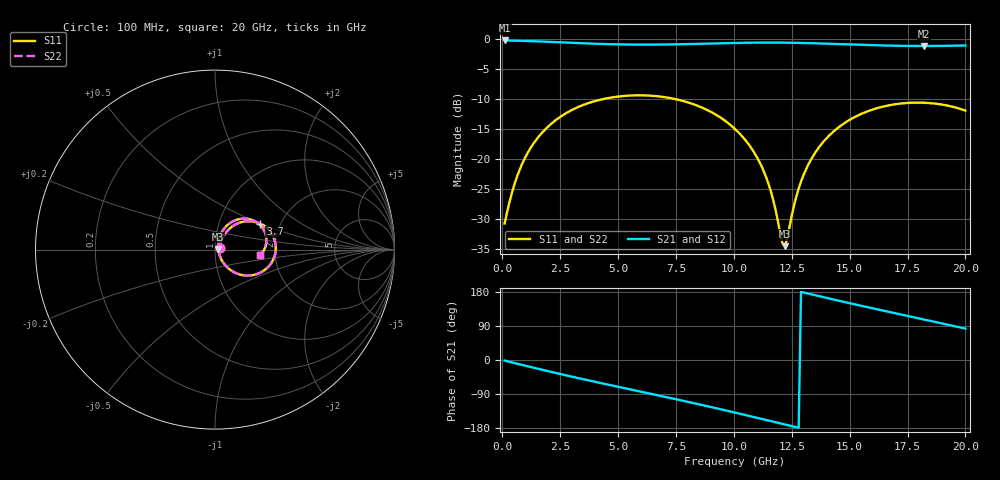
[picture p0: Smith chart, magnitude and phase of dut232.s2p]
! Touchstone file exported from HFSS 2026.1.0
!  File:  C:/ffzhzh/LocalFiles/Ansys_Project_Files/temp_train_TSV_RDL_232_1783064731_36532.aedt
!  Generated:  04:01:15 PM Jul  3, 2026
!  Design:  TSV_RDL
!  Project:  temp_train_TSV_RDL_232_1783064731_36532
! Variables:
!  h_bsmrdl = 5.73um
!  h_ox = 20um
!  h_rdl = 5um
!  h_sub = 92.33um
!  h_tmrdl = 4.64um
!  h_tsv = 92.33um
!  h_via = 3um
!  l_bsmrdl = 972.35um
!  l_sub = 4499.13um
!  l_tmrdl = 270.35um
!  m_sub = 200um
!  pitch = 31.32um
!  r_tsv = 2.55um
!  s_tmrdl = 10um
!  w_bsmrdl = 22.12um
!  w_sub = 500um
!  w_tmrdl = 11.44um
!  x_tsv_center1 = 276.07um
!  x_tsv_center2 = 1270.54um
!  x_tsv_center3 = 1552.33um
!  x_tsv_center4 = 2546.8um
!  x_tsv_center5 = 2828.59um
!  x_tsv_center6 = 3823.06um
# GHz S MA R 50.000000
! Terminal data exported
! Port[1] = TM_RDL1_1_T1
! Port[2] = TM_RDL5_1_T1
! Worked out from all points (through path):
!   200 points, 100 MHz to 20 GHz, reference 50 ohm
!   highest |S21| = -0.23 dB at 100 MHz (marker M1); lowest = -1.2 dB at 18.2 GHz (marker M2)
!   group delay of S21, straight-line fit = 38.4 ps
!   lowest |S11| = -34.6 dB at 12.2 GHz (marker M3), VSWR 1.04, Z = 51.9 + j0.405 ohm
!   |S11| at or under -10 dB: start of sweep to 4.385 GHz; 7.436 GHz to end of sweep
!   |S22| runs from -34.5 to -9.4 dB; largest |S21 - S12| = 1.7e-14
!   S11 on the Smith chart (normalised r, x): 100 MHz: 1.05, +0.02; 3.7 GHz: 1.58, +0.50; 20 GHz: 1.66, -0.12
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0.1  0.02876 22.2  0.9736 -1.6  0.9736 -1.6  0.02876 22.2
! Gamma 0 0 0 0
! Port Impedance 50 0 50 0
0.6  0.06773 54.9  0.9685 -9.2  0.9685 -9.2  0.06773 54.9
1.3  0.1298 56.3  0.9602 -19.6  0.9602 -19.6  0.1298 56.3
2.2  0.2025 47.7  0.9452 -32.7  0.9452 -32.7  0.2025 47.7
3.5  0.2817 32.0  0.9218 -50.8  0.9218 -50.8  0.2817 32.0
3.7  0.2909 29.6  0.9186 -53.5  0.9186 -53.5  0.2909 29.6
5.2  0.3341 11.2  0.9016 -73.3  0.9016 -73.3  0.3341 11.2
6.8  0.3312 -8.4  0.8997 -94.2  0.8997 -94.2  0.3312 -8.4
8.5  0.274 -29.4  0.9128 -117.0  0.9128 -117.0  0.274 -29.3
10.1  0.1738 -48.6  0.9287 -139.5  0.9287 -139.5  0.1738 -48.5
10.8  0.1192 -55.5  0.9332 -149.6  0.9332 -149.6  0.1192 -55.4
11.3  0.07801 -57.7  0.9347 -156.9  0.9347 -156.9  0.07802 -57.6
11.7  0.0453 -52.9  0.9347 -162.7  0.9347 -162.7  0.04535 -52.7
12.1  0.01968 -12.4  0.9336 -168.6  0.9336 -168.6  0.01982 -12.2
12.2  0.01862 12.1  0.9331 -170.0  0.9331 -170.0  0.01878 12.1
12.8  0.05632 68.3  0.9291 -178.8  0.9291 -178.8  0.05639 68.2
13.4  0.1036 68.9  0.923 172.5  0.923 172.5  0.1037 68.9
14  0.1482 63.9  0.9154 163.9  0.9154 163.9  0.1482 63.8
14.8  0.2001 55.1  0.9042 152.7  0.9042 152.7  0.2001 55.0
16.7  0.2796 32.3  0.8817 126.9  0.8817 126.9  0.2797 32.3
18.2  0.2939 14.2  0.8756 107.1  0.8756 107.1  0.2939 14.2
20  0.2527 -7.5  0.8837 82.9  0.8837 82.9  0.2527 -7.4
